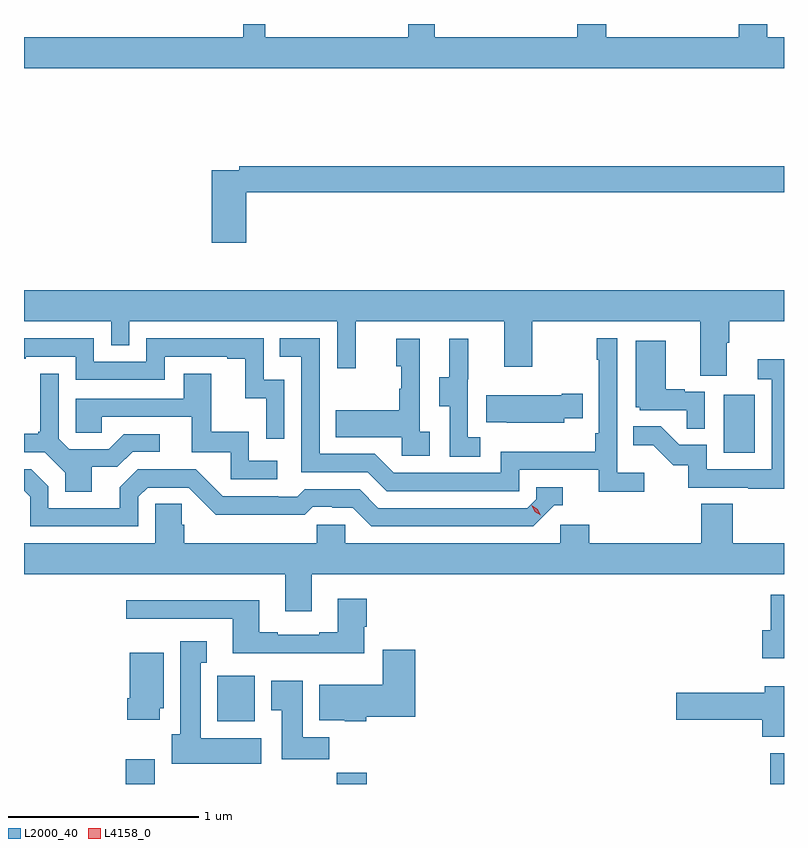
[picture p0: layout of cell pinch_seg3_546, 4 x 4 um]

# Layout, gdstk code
import gdstk
lib = gdstk.Library(unit=1e-6, precision=1e-09)
def R(c, l, rs):  # rectangles x0, y0, x1, y1
    for r in rs: c.add(gdstk.rectangle(r[:2], r[2:], *l))
def P(c, l, *ps):  # polygons
    for p in ps: c.add(gdstk.Polygon(p, *l))
L2000_40 = (2000, 40)
L4158_0 = (4158, 0)

pinch_seg3_546 = lib.new_cell('pinch_seg3_546')
R(pinch_seg3_546, L2000_40, [(1083.737,699.813,1083.889,699.943), (1084.849,699.813,1085.006,699.872), (1087.129,699.813,1087.202,699.976), (1084.22,700.142,1084.417,700.384), (1086.884,701.556,1087.048,701.863)])
P(pinch_seg3_546, L2000_40, [(1087.202,703.744),(1087.113,703.744),(1087.113,703.813),(1086.963,703.813),(1086.963,703.744),(1086.266,703.744),(1086.266,703.813),(1086.114,703.813),(1086.114,703.744),(1085.364,703.744),(1085.364,703.813),(1085.225,703.813),(1085.225,703.744),(1084.473,703.744),(1084.473,703.813),(1084.357,703.813),(1084.357,703.744),(1083.202,703.744),(1083.202,703.58),(1087.202,703.58)],
  [(1084.373,702.928),(1087.202,702.928),(1087.202,703.064),(1084.336,703.064),(1084.336,703.044),(1084.19,703.044),(1084.19,702.663),(1084.373,702.663)],
  [(1086.901,702.136),(1086.914,702.136),(1086.914,702.248),(1087.202,702.248),(1087.202,702.412),(1083.202,702.412),(1083.202,702.248),(1083.66,702.248),(1083.66,702.121),(1083.756,702.121),(1083.756,702.248),(1084.851,702.248),(1084.851,702),(1084.949,702),(1084.949,702.248),(1085.729,702.248),(1085.729,702.009),(1085.877,702.009),(1085.877,702.248),(1086.761,702.248),(1086.761,701.962),(1086.901,701.962)],
  [(1086.466,701.452),(1086.324,701.452),(1086.324,702.16),(1086.216,702.16),(1086.216,702.047),(1086.228,702.047),(1086.228,701.659),(1086.208,701.659),(1086.208,701.563),(1085.712,701.563),(1085.712,701.451),(1085.148,701.451),(1085.049,701.55),(1084.758,701.55),(1084.758,702.159),(1084.549,702.159),(1084.549,702.063),(1084.662,702.063),(1084.662,701.454),(1085.012,701.454),(1085.111,701.355),(1085.808,701.355),(1085.808,701.466),(1086.227,701.466),(1086.227,701.35),(1086.466,701.35)],
  [(1084.572,701.94),(1084.464,701.94),(1084.464,702.159),(1083.846,702.159),(1083.846,702.036),(1083.57,702.036),(1083.57,702.159),(1083.202,702.159),(1083.202,702.051),(1083.211,702.051),(1083.211,702.063),(1083.474,702.063),(1083.474,701.94),(1083.942,701.94),(1083.942,702.063),(1084.271,702.063),(1084.271,702.051),(1084.367,702.051),(1084.367,701.843),(1084.476,701.843),(1084.476,701.631),(1084.572,701.631)],
  [(1085.602,701.639),(1085.538,701.639),(1085.538,701.943),(1085.54,701.943),(1085.54,702.157),(1085.441,702.157),(1085.441,701.955),(1085.387,701.955),(1085.387,701.8),(1085.442,701.8),(1085.442,701.536),(1085.602,701.536)],
  [(1085.338,701.666),(1085.286,701.666),(1085.286,702.157),(1085.162,702.157),(1085.162,702.012),(1085.188,702.012),(1085.188,701.894),(1085.178,701.894),(1085.178,701.779),(1084.843,701.779),(1084.843,701.639),(1085.19,701.639),(1085.19,701.541),(1085.338,701.541)],
  [(1086.786,701.877),(1086.68,701.877),(1086.68,701.89),(1086.58,701.89),(1086.58,702.145),(1086.422,702.145),(1086.422,701.796),(1086.444,701.796),(1086.444,701.781),(1086.691,701.781),(1086.691,701.683),(1086.786,701.683)],
  [(1087.202,702.049),(1087.065,702.049),(1087.065,701.943),(1087.137,701.943),(1087.137,701.469),(1086.795,701.469),(1086.795,701.598),(1086.651,701.598),(1086.553,701.696),(1086.409,701.696),(1086.409,701.597),(1086.513,701.597),(1086.62,701.49),(1086.697,701.49),(1086.697,701.373),(1087.015,701.373),(1087.015,701.368),(1087.202,701.368)],
  [(1084.534,701.514),(1084.386,701.514),(1084.386,701.668),(1084.187,701.668),(1084.187,701.971),(1084.043,701.971),(1084.043,701.841),(1083.474,701.841),(1083.474,701.661),(1083.611,701.661),(1083.611,701.745),(1084.085,701.745),(1084.085,701.559),(1084.29,701.559),(1084.29,701.418),(1084.534,701.418)],
  [(1083.559,701.482),(1083.694,701.482),(1083.774,701.562),(1083.916,701.562),(1083.916,701.655),(1083.728,701.655),(1083.647,701.574),(1083.441,701.574),(1083.384,701.631),(1083.384,701.971),(1083.287,701.971),(1083.287,701.668),(1083.276,701.668),(1083.276,701.656),(1083.202,701.656),(1083.202,701.559),(1083.312,701.559),(1083.419,701.452),(1083.419,701.35),(1083.559,701.35)],
  [(1086.045,701.738),(1086.143,701.738),(1086.143,701.868),(1086.032,701.868),(1086.032,701.86),(1085.635,701.86),(1085.635,701.717),(1085.743,701.717),(1085.743,701.714),(1086.045,701.714)],
  [(1083.804,701.325),(1083.852,701.373),(1084.068,701.373),(1084.21,701.231),(1084.446,701.231),(1084.446,701.229),(1084.679,701.229),(1084.721,701.271),(1084.824,701.271),(1084.824,701.268),(1084.931,701.268),(1085.03,701.169),(1085.883,701.169),(1085.994,701.28),(1086.037,701.28),(1086.037,701.376),(1085.898,701.376),(1085.898,701.313),(1085.85,701.265),(1085.067,701.265),(1084.968,701.364),(1084.679,701.364),(1084.64,701.325),(1084.541,701.325),(1084.541,701.328),(1084.248,701.328),(1084.107,701.469),(1083.801,701.469),(1083.707,701.375),(1083.707,701.265),(1083.33,701.265),(1083.33,701.379),(1083.24,701.469),(1083.202,701.469),(1083.202,701.357),(1083.234,701.325),(1083.234,701.169),(1083.804,701.169)],
  [(1084.717,700.916),(1087.202,700.916),(1087.202,701.08),(1086.932,701.08),(1086.932,701.288),(1086.767,701.288),(1086.767,701.08),(1086.176,701.08),(1086.176,701.178),(1086.024,701.178),(1086.024,701.08),(1084.893,701.08),(1084.893,701.178),(1084.743,701.178),(1084.743,701.08),(1084.046,701.08),(1084.046,701.178),(1084.031,701.178),(1084.031,701.288),(1083.894,701.288),(1083.894,701.08),(1083.202,701.08),(1083.202,700.916),(1084.577,700.916),(1084.577,700.722),(1084.717,700.722)],
  [(1087.202,700.81),(1087.132,700.81),(1087.132,700.623),(1087.088,700.623),(1087.088,700.475),(1087.202,700.475)],
  [(1084.993,700.641),(1085.006,700.641),(1085.006,700.789),(1084.853,700.789),(1084.853,700.612),(1084.757,700.612),(1084.757,700.599),(1084.537,700.599),(1084.537,700.612),(1084.441,700.612),(1084.441,700.78),(1083.741,700.78),(1083.741,700.683),(1084.301,700.683),(1084.301,700.502),(1084.993,700.502)],
  [(1084.45,700.054),(1084.132,700.054),(1084.132,700.451),(1084.165,700.451),(1084.165,700.564),(1084.025,700.564),(1084.025,700.074),(1083.98,700.074),(1083.98,699.92),(1084.45,699.92)],
  [(1085.004,700.166),(1085.261,700.166),(1085.261,700.519),(1085.09,700.519),(1085.09,700.336),(1084.757,700.336),(1084.757,700.148),(1084.89,700.148),(1084.89,700.142),(1085.004,700.142)],
  [(1083.916,700.212),(1083.937,700.212),(1083.937,700.504),(1083.758,700.504),(1083.758,700.264),(1083.746,700.264),(1083.746,700.152),(1083.916,700.152)],
  [(1084.808,700.06),(1084.669,700.06),(1084.669,700.357),(1084.502,700.357),(1084.502,700.201),(1084.559,700.201),(1084.559,699.942),(1084.808,699.942)],
  [(1087.202,700.327),(1087.1,700.327),(1087.1,700.292),(1086.636,700.292),(1086.636,700.15),(1087.088,700.15),(1087.088,700.061),(1087.202,700.061)])
P(pinch_seg3_546, L4158_0, [(1085.922,701.227),(1085.891,701.247),(1085.875,701.279),(1085.875,701.28),(1085.875,701.28),(1085.906,701.26),(1085.922,701.228),(1085.922,701.227)])

lib.write_gds('pinch_seg3_546.gds')
